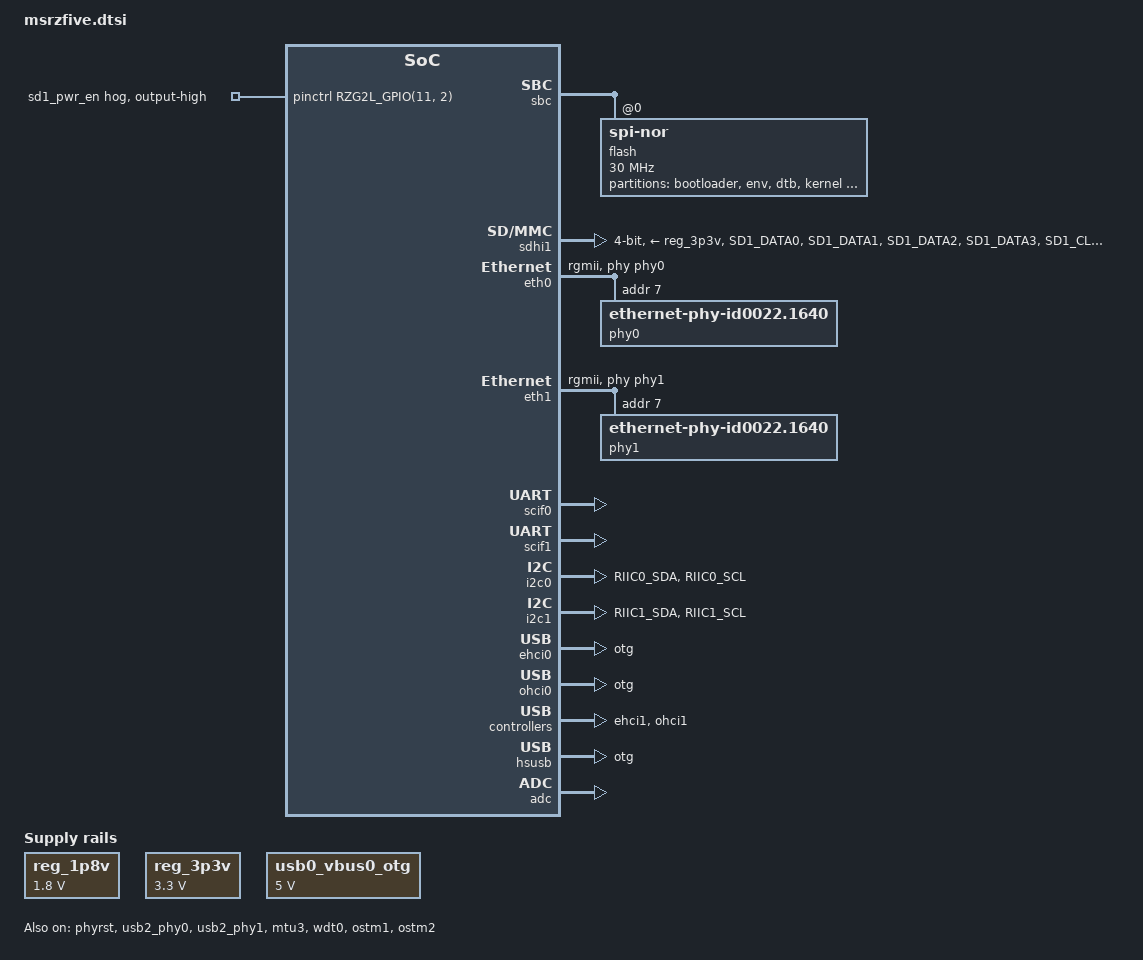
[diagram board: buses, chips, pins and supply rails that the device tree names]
// SPDX-License-Identifier: GPL-2.0
/*
 * Device Tree Source for the MSRZFIVE RISC-V OSM common parts
 *
 * Copyright (C) 2021 Renesas Electronics Corp.
 * Copyright (C) 2023 ARIES Embedded
 */

#include <dt-bindings/pinctrl/rzg2l-pinctrl.h>
#include <dt-bindings/gpio/gpio.h>

/* NOTE: Define as 1 to use hardware Trigger via GPIOA_7 */
#define GPIOA_7_ADC_TRG	0

/ {
	aliases {
		serial0 = &scif0;
		serial1 = &scif1;
		ethernet0 = &eth0;
		ethernet1 = &eth1;
		mmc0 = &sdhi0;
		mmc1 = &sdhi1;
		i2c0 = &i2c0;
		i2c1 = &i2c1;
	};

	chosen {
		bootargs = "ignore_loglevel";
		stdout-path = "serial0:115200n8";
	};

	reg_1p8v: regulator0 {
		compatible = "regulator-fixed";

		regulator-name = "fixed-1.8V";
		regulator-min-microvolt = <1800000>;
		regulator-max-microvolt = <1800000>;
		regulator-boot-on;
		regulator-always-on;
	};

	reg_3p3v: regulator1 {
		compatible = "regulator-fixed";

		regulator-name = "fixed-3.3V";
		regulator-min-microvolt = <3300000>;
		regulator-max-microvolt = <3300000>;
		regulator-boot-on;
		regulator-always-on;
	};

	usb0_vbus0_otg: regulator-vbus0-usb2 {
		compatible = "regulator-fixed";

		regulator-name = "USB20_OTG_VBUS";
		regulator-min-microvolt = <5000000>;
		regulator-max-microvolt = <5000000>;
	};
};

&extal_clk {
	clock-frequency = <24000000>;
};

&sbc {
	status = "okay";

	flash@0 {
		compatible = "jedec,spi-nor";
		reg = <0>;
		spi-max-frequency = <30000000>;

		spi-tx-bus-width = <4>;
		spi-rx-bus-width = <4>;

		/* SPI Mode 3 */
		spi-cpol;
		spi-cpha;
		m25p,fast-read;

		partitions {
			compatible = "fixed-partitions";
			#address-cells = <2>;
			#size-cells = <2>;

			partition@0000000 {
				label = "bootloader";
				reg = <0 0x00000000 0 0x00100000>;
			};
			partition@100000 {
				label = "env";
				reg = <0 0x00100000 0 0x00020000>;
			};
			partition@120000 {
				label = "dtb";
				reg = <0 0x00120000 0 0x00020000>;
			};
			partition@140000 {
				label = "kernel";
				reg = <0 0x00140000 0 0x00600000>;
			};
			partition@740000 {
				label = "ramdisk";
				reg = <0 0x00740000 0 0x008C0000>;
			};
		};
	};
};

&sdhi0 {
	pinctrl-0 = <&sdhi0_pins>;
	pinctrl-1 = <&sdhi0_pins>;
	pinctrl-names = "default", "state_uhs";

	vmmc-supply = <&reg_3p3v>;
	vqmmc-supply = <&reg_1p8v>;
	bus-width = <8>;
	mmc-hs200-1_8v;
	non-removable;
	fixed-emmc-driver-type = <1>;
	status = "disabled";
};

&sdhi1 {
	pinctrl-0 = <&sdhi1_pins>;
	pinctrl-1 = <&sdhi1_pins>;
	pinctrl-names = "default", "state_uhs";

	vmmc-supply = <&reg_3p3v>;
	vqmmc-supply = <&reg_3p3v>;

	bus-width = <4>;
	status = "okay";
};

&eth0 {
	pinctrl-0 = <&ether0_pins>;
	pinctrl-names = "default";
	phy-handle = <&phy0>;
	phy-mode = "rgmii";
	status = "okay";

	phy0: ethernet-phy@7 {
		compatible = "ethernet-phy-id0022.1640",
				"ethernet-phy-ieee802.3-c22";
		reg = <7>;
		rxc-skew-psec = <2400>;
		txc-skew-psec = <2400>;
		rxdv-skew-psec = <0>;
		txdv-skew-psec = <0>;
		rxd0-skew-psec = <0>;
		rxd1-skew-psec = <0>;
		rxd2-skew-psec = <0>;
		rxd3-skew-psec = <0>;
		txd0-skew-psec = <0>;
		txd1-skew-psec = <0>;
		txd2-skew-psec = <0>;
		txd3-skew-psec = <0>;
	};
};

&eth1 {
	pinctrl-0 = <&ether1_pins>;
	pinctrl-names = "default";
	phy-handle = <&phy1>;
	phy-mode = "rgmii";
	status = "okay";

	phy1: ethernet-phy@7 {
		compatible = "ethernet-phy-id0022.1640",
				"ethernet-phy-ieee802.3-c22";
		reg = <7>;
		rxc-skew-psec = <2400>;
		txc-skew-psec = <2400>;
		rxdv-skew-psec = <0>;
		txdv-skew-psec = <0>;
		rxd0-skew-psec = <0>;
		rxd1-skew-psec = <0>;
		rxd2-skew-psec = <0>;
		rxd3-skew-psec = <0>;
		txd0-skew-psec = <0>;
		txd1-skew-psec = <0>;
		txd2-skew-psec = <0>;
		txd3-skew-psec = <0>;
	};
};

&scif0 {
	pinctrl-0 = <&scif0_pins>;
	pinctrl-names = "default";
	status = "okay";
};

&scif1 {
	pinctrl-0 = <&scif1_pins>;
	pinctrl-names = "default";
	status = "okay";
};

&i2c0 {
	pinctrl-0 = <&i2c0_pins>;
	pinctrl-names = "default";
	status = "okay";
};

&i2c1 {
	pinctrl-0 = <&i2c1_pins>;
	pinctrl-names = "default";
	status = "okay";
};

&ehci0 {
	dr_mode = "otg";
	status = "okay";
};

&ohci0 {
	dr_mode = "otg";
	status = "okay";
};

&ehci1 {
	status = "okay";
};

&ohci1 {
	status = "okay";
};

&hsusb {
	dr_mode = "otg";
	status = "okay";
};

&phyrst {
	status = "okay";
};

&usb2_phy0 {
	pinctrl-0 = <&usb0_pins>;
	pinctrl-names = "default";
	vbus-supply = <&usb0_vbus0_otg>;
	status = "okay";
};

&usb2_phy1 {
	pinctrl-0 = <&usb1_pins>;
	pinctrl-names = "default";
	status = "okay";
};

&adc {
#if GPIOA_7_ADC_TRG
	pinctrl-0 = <&adc_pins>;
	pinctrl-names = "default";
#endif
	status = "okay";
};

&mtu3 {
	status = "okay";
};

&wdt0 {
	status = "okay";
	timeout-sec = <60>;
};

&ostm1 {
	status = "okay";
};

&ostm2 {
	status = "okay";
};

&pinctrl {
	sdhi0_pins: sd0 {
		sd0_data {
			pins = "SD0_DATA0", "SD0_DATA1", "SD0_DATA2", "SD0_DATA3",
			       "SD0_DATA4", "SD0_DATA5", "SD0_DATA6", "SD0_DATA7";
			power-source = <1800>;
		};

		sd0_ctrl {
			pins = "SD0_CLK", "SD0_CMD", "SD0_RST#";
			power-source = <1800>;
		};

		sd0_rst {
			pins = "SD0_RST#";
			power-source = <1800>;
		};
	};

	sd1_pwr_en {
		gpio-hog;
		gpios = <RZG2L_GPIO(11, 2) GPIO_ACTIVE_HIGH>;
		output-high;
		line-name = "sd1_pwr_en";
	};

	sdhi1_pins: sd1 {
		sd1_data {
			pins =	"SD1_DATA0", "SD1_DATA1", "SD1_DATA2",
				"SD1_DATA3";
			power-source  = <3300>;
		};

		sd1_ctrl {
			pins = "SD1_CLK", "SD1_CMD";
			power-source  = <3300>;
		};

		sd1_mux {
			pinmux = <RZG2L_PORT_PINMUX(0, 2, 1)>; /* SD1_CD */
		};
	};

	ether0_pins: eth0 {
		pinmux =
			<RZG2L_PORT_PINMUX(1, 0, 1)>, /* M2 ET0_TXC */
			<RZG2L_PORT_PINMUX(1, 1, 1)>, /* M1 ET0_TX_CTL */
			<RZG2L_PORT_PINMUX(1, 2, 1)>, /* L1 ET0_TXD0 */
			<RZG2L_PORT_PINMUX(1, 3, 1)>, /* L2 ET0_TXD1 */
			<RZG2L_PORT_PINMUX(1, 4, 1)>, /* K1 ET0_TXD2 */
			<RZG2L_PORT_PINMUX(2, 0, 1)>, /* K2 ET0_TXD3 */
			<RZG2L_PORT_PINMUX(2, 1, 1)>, /* K6 ET0_TX_ERR */
			<RZG2L_PORT_PINMUX(2, 2, 1)>, /* M3* ET0_TX_COL */
			<RZG2L_PORT_PINMUX(2, 3, 1)>, /* M6* ET0_TX_CRS */
			<RZG2L_PORT_PINMUX(3, 0, 1)>, /* N3 ET0_RXC */
			<RZG2L_PORT_PINMUX(3, 1, 1)>, /* N1 ET0_RX_CTL */
			<RZG2L_PORT_PINMUX(3, 2, 1)>, /* P2 ET0_RXD0 */
			<RZG2L_PORT_PINMUX(3, 3, 1)>, /* R3 ET0_RXD1 */
			<RZG2L_PORT_PINMUX(4, 0, 1)>, /* R2 ET0_RXD2 */
			<RZG2L_PORT_PINMUX(4, 1, 1)>, /* R1 ET0_RXD3 */
			<RZG2L_PORT_PINMUX(4, 2, 1)>, /* N2 ET0_RX_ERR */
			<RZG2L_PORT_PINMUX(4, 3, 1)>, /* T3 ET0_MDC */
			<RZG2L_PORT_PINMUX(4, 4, 1)>, /* T2 ET0_MDIO */
			<RZG2L_PORT_PINMUX(4, 5, 1)>; /* P1 ET0_LINKSTA */
	};

	ether1_pins: eth1 {
		pinmux =
			<RZG2L_PORT_PINMUX(7, 0, 1)>, /* AE18 ET1_TXC */
			<RZG2L_PORT_PINMUX(7, 1, 1)>, /* AD17 ET1_TX_CTL */
			<RZG2L_PORT_PINMUX(7, 2, 1)>, /* AD16 ET1_TXD0 */
			<RZG2L_PORT_PINMUX(7, 3, 1)>, /* AE16 ET1_TXD1 */
			<RZG2L_PORT_PINMUX(7, 4, 1)>, /* AD15 ET1_TXD2 */
			<RZG2L_PORT_PINMUX(8, 0, 1)>, /* AE15 ET1_TXD3 */
			<RZG2L_PORT_PINMUX(8, 1, 1)>, /* AE17 ET1_TX_ERR */
			<RZG2L_PORT_PINMUX(8, 2, 1)>, /* AC16 ET1_TX_COL */
			<RZG2L_PORT_PINMUX(8, 3, 1)>, /* AC15 ET1_TX_CRS */
			<RZG2L_PORT_PINMUX(8, 4, 1)>, /* AC17 ET1_RXC */
			<RZG2L_PORT_PINMUX(9, 0, 1)>, /* AC18 ET1_RX_CTL */
			<RZG2L_PORT_PINMUX(9, 1, 1)>, /* AE19 ET1_RXD0 */
			<RZG2L_PORT_PINMUX(9, 2, 1)>, /* AD19 ET1_RXD1 */
			<RZG2L_PORT_PINMUX(9, 3, 1)>, /* AE20 ET1_RXD2 */
			<RZG2L_PORT_PINMUX(10, 0, 1)>, /* AD20 ET1_RXD3 */
			<RZG2L_PORT_PINMUX(10, 1, 1)>, /* AD18 ET1_RX_ERR */
			<RZG2L_PORT_PINMUX(10, 2, 1)>, /* AC20 ET1_MDC */
			<RZG2L_PORT_PINMUX(10, 3, 1)>, /* AE21 ET1_MDIO */
			<RZG2L_PORT_PINMUX(10, 4, 1)>; /* AC19 ET1_LINKSTA */
	};

	scif0_pins: scif0 {
		pinmux =
			<RZG2L_PORT_PINMUX(6, 3, 6)>, /* RxD */
			<RZG2L_PORT_PINMUX(6, 4, 6)>; /* TxD */
	};

	scif1_pins: scif1 {
		pinmux =
			<RZG2L_PORT_PINMUX(18, 4, 6)>, /* TxD */
			<RZG2L_PORT_PINMUX(18, 5, 6)>; /* RxD */
	};

	i2c0_pins: i2c0 {
		pins = "RIIC0_SDA", "RIIC0_SCL";
		input-enable;
	};

	i2c1_pins: i2c1 {
		pins = "RIIC1_SDA", "RIIC1_SCL";
		input-enable;
	};

	usb0_pins: usb0 {
		pinmux =
			<RZG2L_PORT_PINMUX(5, 0, 1)>, /* VBUS_EN */
			<RZG2L_PORT_PINMUX(5, 2, 1)>, /* OVC */
			<RZG2L_PORT_PINMUX(5, 3, 1)>; /* OTG_ID */
	};

	usb1_pins: usb1 {
		pinmux =
			<RZG2L_PORT_PINMUX(6, 0, 1)>, /* VBUS_EN */
			<RZG2L_PORT_PINMUX(6, 1, 1)>; /* OVC */
	};

	adc_pins: adc {
		pinmux = <RZG2L_PORT_PINMUX(5, 1, 4)>; /* ADC_TRG */
	};
};
